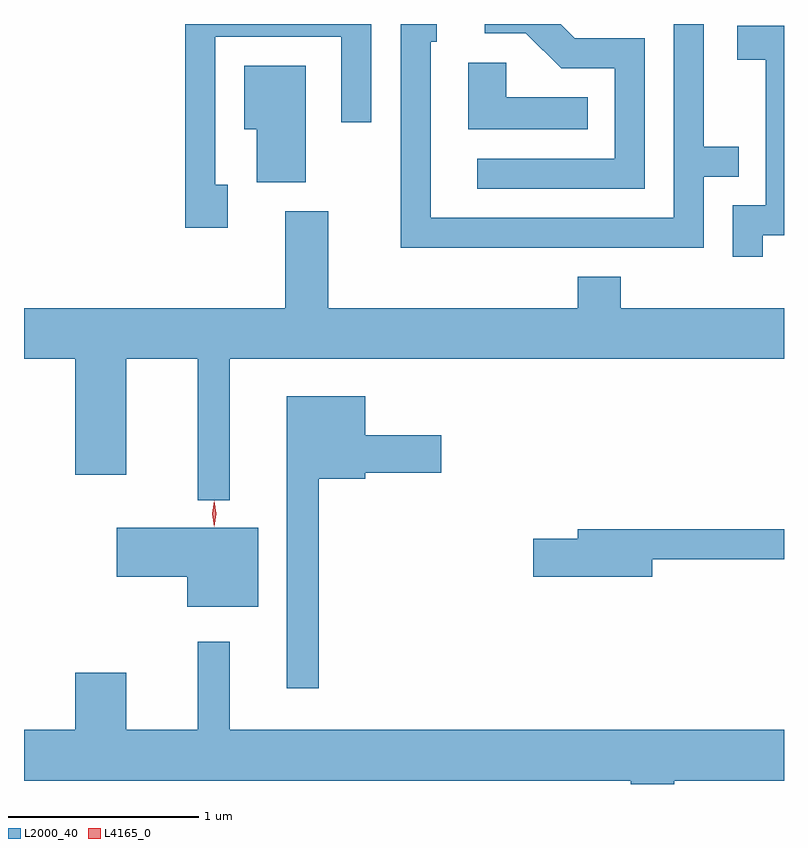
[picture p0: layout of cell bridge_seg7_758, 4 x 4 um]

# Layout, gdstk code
import gdstk
lib = gdstk.Library(unit=1e-6, precision=1e-09)
def P(c, l, *ps):  # polygons
    for p in ps: c.add(gdstk.Polygon(p, *l))
L2000_40 = (2000, 40)
L4165_0 = (4165, 0)

bridge_seg7_758 = lib.new_cell('bridge_seg7_758')
P(bridge_seg7_758, L2000_40, [(258.034,1751.524),(257.666,1751.524),(257.591,1751.599),(257.193,1751.599),(257.193,1751.551),(257.409,1751.551),(257.594,1751.366),(257.876,1751.366),(257.876,1750.889),(257.153,1750.889),(257.153,1750.731),(258.034,1750.731)],
  [(258.344,1750.796),(258.528,1750.796),(258.528,1750.954),(258.344,1750.954),(258.344,1751.599),(258.186,1751.599),(258.186,1750.579),(256.909,1750.579),(256.909,1751.506),(256.939,1751.506),(256.939,1751.599),(256.751,1751.599),(256.751,1750.421),(258.344,1750.421)],
  [(255.839,1750.754),(255.774,1750.754),(255.774,1751.531),(256.436,1751.531),(256.436,1751.083),(256.594,1751.083),(256.594,1751.599),(255.616,1751.599),(255.616,1750.526),(255.839,1750.526)],
  [(258.654,1750.486),(258.767,1750.486),(258.767,1751.589),(258.521,1751.589),(258.521,1751.411),(258.671,1751.411),(258.671,1750.644),(258.496,1750.644),(258.496,1750.373),(258.654,1750.373)],
  [(257.733,1751.214),(257.304,1751.214),(257.304,1751.394),(257.106,1751.394),(257.106,1751.046),(257.733,1751.046)],
  [(256.249,1751.379),(255.926,1751.379),(255.926,1751.046),(255.991,1751.046),(255.991,1750.766),(256.249,1750.766)],
  [(255.849,1749.836),(258.767,1749.836),(258.767,1750.104),(257.909,1750.104),(257.909,1750.269),(257.681,1750.269),(257.681,1750.104),(256.369,1750.104),(256.369,1750.614),(256.141,1750.614),(256.141,1750.104),(254.767,1750.104),(254.767,1749.836),(255.036,1749.836),(255.036,1749.226),(255.304,1749.226),(255.304,1749.836),(255.681,1749.836),(255.681,1749.093),(255.849,1749.093)],
  [(256.319,1749.206),(256.564,1749.206),(256.564,1749.236),(256.964,1749.236),(256.964,1749.434),(256.564,1749.434),(256.564,1749.639),(256.151,1749.639),(256.151,1748.103),(256.319,1748.103)],
  [(255.999,1748.949),(255.256,1748.949),(255.256,1748.691),(255.626,1748.691),(255.626,1748.531),(255.999,1748.531)],
  [(258.074,1748.781),(258.767,1748.781),(258.767,1748.939),(257.681,1748.939),(257.681,1748.889),(257.446,1748.889),(257.446,1748.691),(258.074,1748.691)],
  [(258.189,1747.616),(258.767,1747.616),(258.767,1747.884),(255.849,1747.884),(255.849,1748.348),(255.681,1748.348),(255.681,1747.884),(255.304,1747.884),(255.304,1748.184),(255.036,1748.184),(255.036,1747.884),(254.767,1747.884),(254.767,1747.616),(257.961,1747.616),(257.961,1747.599),(258.189,1747.599)])
P(bridge_seg7_758, L4165_0, [(255.768,1748.954),(255.768,1748.954),(255.758,1749.022),(255.767,1749.09),(255.767,1749.09),(255.768,1749.09),(255.778,1749.022),(255.769,1748.954)],
  [(255.768,1748.96),(255.767,1748.961),(255.757,1749.023),(255.767,1749.086),(255.767,1749.087),(255.768,1749.086),(255.777,1749.024),(255.768,1748.961)])

lib.write_gds('bridge_seg7_758.gds')
